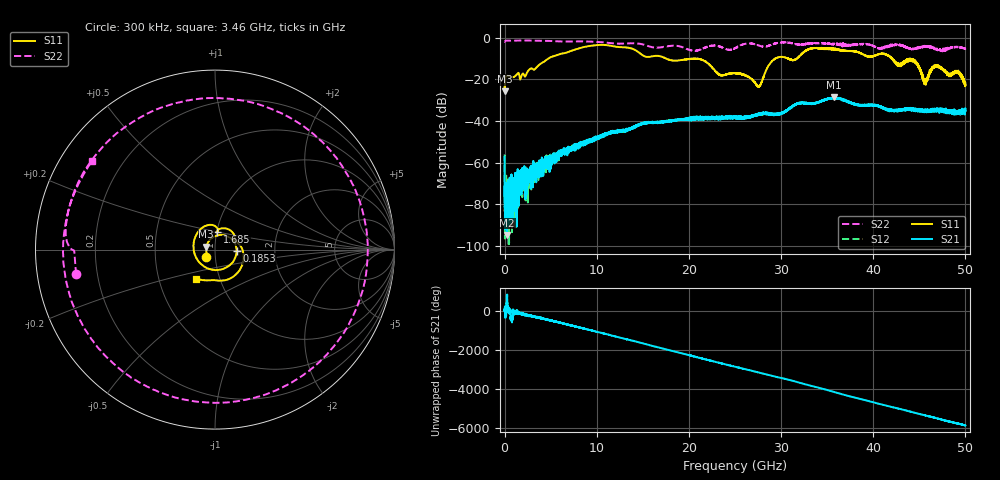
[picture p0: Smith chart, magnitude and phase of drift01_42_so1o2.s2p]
!Created with skrf (http://scikit-rf.org).
# Hz S RI R 50.0
!freq ReS11 ImS11 ReS21 ImS21 ReS12 ImS12 ReS22 ImS22
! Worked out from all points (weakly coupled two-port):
!   10001 points, 300 kHz to 50 GHz, reference 50 ohm
!   highest |S21| = -28.72 dB at 35.74 GHz (marker M1); lowest = -94.8 dB at 260.3 MHz (marker M2)
!   lowest |S11| = -25.8 dB at 5.3 MHz (marker M3), VSWR 1.11, Z = 45.3 + j1.41 ohm
!   |S11| at or under -10 dB: start of sweep to 4.766 GHz; 17.5 GHz to 29.4 GHz (11.89 GHz wide, 50.7 % of centre); 43.99 GHz to end of sweep (the widest 3 of 12)
!   |S22| runs from -6.6 to -1.4 dB; largest |S21 - S12| = 0.004
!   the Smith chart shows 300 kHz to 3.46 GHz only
!   S11 on the Smith chart (normalised r, x): 300 kHz: 0.91, -0.08; 185.3 MHz: 1.27, -0.02; 1.685 GHz: 1.01, +0.20; 3.46 GHz: 0.77, -0.26
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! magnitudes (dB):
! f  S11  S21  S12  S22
! 300 kHz  -23.9  -57.2  -56.1  -2.1
! 5.3 MHz  -25.8  -73.3  -70.5  -2.1
! 185.3 MHz  -18.3  -75.5  -80.0  -1.4
! 260.3 MHz  -18.3  -94.8  -70.9  -1.4
! 1.685 GHz  -20.2  -70.6  -68.4  -1.4
! 3.46 GHz  -14.3  -62.3  -65.2  -1.5
! 8.335 GHz  -4.8  -51.0  -51.8  -1.8
! 16.67 GHz  -8.7  -40.9  -40.6  -4.8
! 21.16 GHz  -10.3  -39.2  -38.3  -5.9
! 23.37 GHz  -17.9  -38.7  -38.4  -4.4
! 25 GHz  -17.0  -38.0  -38.5  -5.1
! 27.59 GHz  -23.7  -36.3  -36.7  -3.8
! 29.28 GHz  -10.3  -37.1  -36.8  -2.9
! 31.45 GHz  -10.8  -32.2  -32.6  -3.0
! 33.34 GHz  -5.1  -31.9  -31.7  -2.7
! 35.74 GHz  -5.4  -28.7  -29.0  -2.9
! 41.67 GHz  -8.8  -34.6  -34.8  -4.3
! 42.74 GHz  -12.6  -35.0  -34.6  -3.4
! 44.4 GHz  -10.7  -35.0  -34.9  -5.3
! 45.63 GHz  -21.4  -35.6  -35.0  -4.3
! 46.89 GHz  -13.8  -34.6  -34.2  -5.4
! 50 GHz  -21.9  -35.3  -35.0  -5.3
